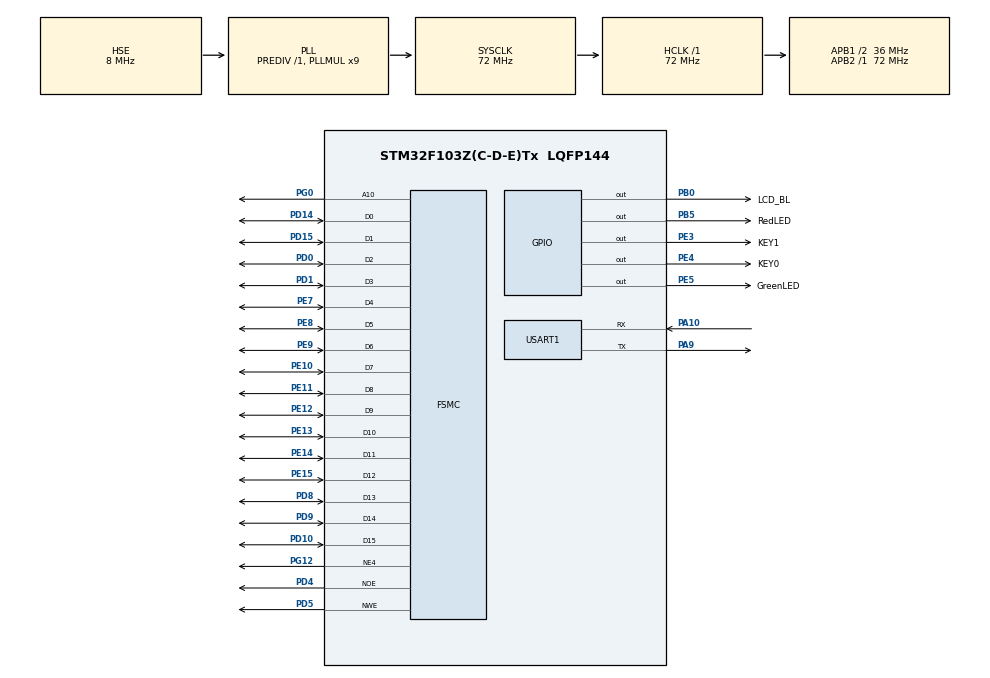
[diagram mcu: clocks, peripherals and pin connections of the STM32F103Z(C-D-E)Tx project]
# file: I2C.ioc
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FSMC.AddressSetupTime4=2
FSMC.BusTurnAroundDuration4=0
FSMC.DataSetupTime4=16
FSMC.ExtendedAddressSetupTime4=4
FSMC.ExtendedBusTurnAroundDuration4=0
FSMC.ExtendedDataSetupTime4=9
FSMC.ExtendedMode4=FSMC_EXTENDED_MODE_ENABLE
Mcu.Family=STM32F1
Mcu.Name=STM32F103Z(C-D-E)Tx
Mcu.Package=LQFP144
NVIC.PriorityGroup=NVIC_PRIORITYGROUP_4
OSC_IN.Mode=HSE-External-Oscillator
OSC_IN.Signal=RCC_OSC_IN
OSC_OUT.Mode=HSE-External-Oscillator
OSC_OUT.Signal=RCC_OSC_OUT
PA10.Mode=Asynchronous
PA10.Signal=USART1_RX
PA13.Mode=Serial_Wire
PA13.Signal=SYS_JTMS-SWDIO
PA14.Mode=Serial_Wire
PA14.Signal=SYS_JTCK-SWCLK
PA9.Mode=Asynchronous
PA9.Signal=USART1_TX
PB0.GPIO_Label=LCD_BL
PB0.GPIO_PuPd=GPIO_PULLDOWN
PB0.Signal=GPIO_Output
PB5.GPIO_Label=RedLED
PB5.PinState=GPIO_PIN_SET
PB5.Signal=GPIO_Output
PD0.Signal=FSMC_D2_DA2
PD1.Signal=FSMC_D3_DA3
PD10.Signal=FSMC_D15_DA15
PD14.Signal=FSMC_D0_DA0
PD15.Signal=FSMC_D1_DA1
PD4.Signal=FSMC_NOE
PD5.Signal=FSMC_NWE
PD8.Signal=FSMC_D13_DA13
PD9.Signal=FSMC_D14_DA14
PE10.Signal=FSMC_D7_DA7
PE11.Signal=FSMC_D8_DA8
PE12.Signal=FSMC_D9_DA9
PE13.Signal=FSMC_D10_DA10
PE14.Signal=FSMC_D11_DA11
PE15.Signal=FSMC_D12_DA12
PE3.GPIO_Label=KEY1
PE3.GPIO_PuPd=GPIO_PULLUP
PE3.PinState=GPIO_PIN_SET
PE3.Signal=GPIO_Output
PE4.GPIO_Label=KEY0
PE4.GPIO_PuPd=GPIO_PULLUP
PE4.PinState=GPIO_PIN_SET
PE4.Signal=GPIO_Output
PE5.GPIO_Label=GreenLED
PE5.PinState=GPIO_PIN_SET
PE5.Signal=GPIO_Output
PE7.Signal=FSMC_D4_DA4
PE8.Signal=FSMC_D5_DA5
PE9.Signal=FSMC_D6_DA6
PG0.Signal=FSMC_A10
PG12.Mode=NorPsramChipSelect4_4
PG12.Signal=FSMC_NE4
ProjectManager.HeapSize=0x200
ProjectManager.StackSize=0x400
ProjectManager.TargetToolchain=CMake
RCC.AHBFreq_Value=72000000
RCC.APB1CLKDivider=RCC_HCLK_DIV2
RCC.APB1Freq_Value=36000000
RCC.APB1TimFreq_Value=72000000
RCC.APB2Freq_Value=72000000
RCC.APB2TimFreq_Value=72000000
RCC.HCLKFreq_Value=72000000
RCC.PLLMUL=RCC_PLL_MUL9
RCC.PLLSourceVirtual=RCC_PLLSOURCE_HSE
RCC.SYSCLKFreq_VALUE=72000000
RCC.SYSCLKSource=RCC_SYSCLKSOURCE_PLLCLK
RCC.USBFreq_Value=72000000
SH.FSMC_A10.0=FSMC_A10,A10_4
SH.FSMC_D0_DA0.0=FSMC_D0,16b-d4
SH.FSMC_D10_DA10.0=FSMC_D10,16b-d4
SH.FSMC_D11_DA11.0=FSMC_D11,16b-d4
SH.FSMC_D12_DA12.0=FSMC_D12,16b-d4
SH.FSMC_D13_DA13.0=FSMC_D13,16b-d4
SH.FSMC_D14_DA14.0=FSMC_D14,16b-d4
SH.FSMC_D15_DA15.0=FSMC_D15,16b-d4
SH.FSMC_D1_DA1.0=FSMC_D1,16b-d4
SH.FSMC_D2_DA2.0=FSMC_D2,16b-d4
SH.FSMC_D3_DA3.0=FSMC_D3,16b-d4
SH.FSMC_D4_DA4.0=FSMC_D4,16b-d4
SH.FSMC_D5_DA5.0=FSMC_D5,16b-d4
SH.FSMC_D6_DA6.0=FSMC_D6,16b-d4
SH.FSMC_D7_DA7.0=FSMC_D7,16b-d4
SH.FSMC_D8_DA8.0=FSMC_D8,16b-d4
SH.FSMC_D9_DA9.0=FSMC_D9,16b-d4
SH.FSMC_NOE.0=FSMC_NOE,Lcd4
SH.FSMC_NWE.0=FSMC_NWE,Lcd4
USART1.VirtualMode=VM_ASYNC
board=custom

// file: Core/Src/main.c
/* USER CODE BEGIN Header */
/**
 ******************************************************************************
 * @file           : main.c
 * @brief          : Main program body
 ******************************************************************************
 * @attention
 *
 * Copyright (c) 2025 STMicroelectronics.
 * All rights reserved.
 *
 * This software is licensed under terms that can be found in the LICENSE file
 * in the root directory of this software component.
 * If no LICENSE file comes with this software, it is provided AS-IS.
 *
 ******************************************************************************
 */
/* USER CODE END Header */
#include "main.h"

#include "fsmc.h"
#include "gpio.h"
#include "stm32f1xx_hal.h"
#include "stm32f1xx_hal_gpio.h"
#include "usart.h"

/* USER CODE BEGIN Includes */
#include "AT24Cxx.h" /* 24CXX驱动头文件 */
#include "lcd.h" /* LCD驱动头文件 */

/* USER CODE END Includes */

/* USER CODE BEGIN PV */
/* 要写入到24c02的字符串数组 */
const uint8_t g_text_buf[] = {"STM32 IIC TEST"};
#define TEXT_SIZE sizeof(g_text_buf) /* TEXT字符串长度 */
/* USER CODE END PV */

void SystemClock_Config(void);

int main(void) {
    /* USER CODE BEGIN 1 */
    uint16_t i = 0;
    uint8_t datatemp[TEXT_SIZE];
    /* USER CODE END 1 */

    /* MCU Configuration--------------------------------------------------------*/

    /* Reset of all peripherals, Initializes the Flash interface and the Systick. */
    HAL_Init();

    /* Configure the system clock */
    SystemClock_Config();

    /* Initialize all configured peripherals */
    MX_GPIO_Init();
    MX_USART1_UART_Init();
    MX_FSMC_Init();
    /* USER CODE BEGIN 2 */
    lcd_init(); /* 初始化LCD */
    at24cxx_init(); /* 初始化24CXX */

    lcd_show_string(30, 50, 200, 16, 16, "STM32", RED);
    lcd_show_string(30, 70, 200, 16, 16, "IIC TEST", RED);
    lcd_show_string(30, 90, 200, 16, 16, "ATOM@ALIENTEK", RED);
    lcd_show_string(30, 110, 200, 16, 16, "KEY1:Write  KEY0:Read", RED); /* 显示提示信息 */
    while (at24cxx_check()) /* 检测不到24c02 */
    {
        lcd_show_string(30, 130, 200, 16, 16, "24C02 Check Failed!", RED);
        HAL_Delay(500);
        lcd_show_string(30, 130, 200, 16, 16, "Please Check!      ", RED);
        HAL_Delay(500);
        HAL_GPIO_TogglePin(RedLED_GPIO_Port, RedLED_Pin); /* 红灯闪烁 */
    }

    lcd_show_string(30, 130, 200, 16, 16, "24C02 Ready!", RED);
    /* USER CODE END 2 */

    /* Infinite loop */
    /* USER CODE BEGIN WHILE */
    while (1) {
        if (HAL_GPIO_ReadPin(KEY1_GPIO_Port, KEY1_Pin) == GPIO_PIN_RESET) /* KEY1按下,写入24C02 */
        {
            lcd_fill(0, 150, 239, 319, WHITE); /* 清除半屏 */
            lcd_show_string(30, 150, 200, 16, 16, "Start Write 24C02....", BLUE);
            at24cxx_write(0, (uint8_t*) g_text_buf, TEXT_SIZE);
            lcd_show_string(30, 150, 200, 16, 16, "24C02 Write Finished!", BLUE); /* 提示传送完成 */
        }

        if (HAL_GPIO_ReadPin(KEY0_GPIO_Port, KEY0_Pin) == GPIO_PIN_RESET) /* KEY0按下,读取字符串并显示 */
        {
            lcd_show_string(30, 150, 200, 16, 16, "Start Read 24C02.... ", BLUE);
            at24cxx_read(0, datatemp, TEXT_SIZE);
            lcd_show_string(30, 150, 200, 16, 16, "The Data Readed Is:  ", BLUE); /* 提示传送完成 */
            lcd_show_string(30, 170, 200, 16, 16, (char*) datatemp, BLUE); /* 显示读到的字符串 */
        }

        i++;

        if (i == 20) {
            HAL_GPIO_TogglePin(RedLED_GPIO_Port, RedLED_Pin); /* 红灯闪烁 */
            i = 0;
        }

        HAL_Delay(10);

        /* USER CODE END WHILE */

    }
}

void SystemClock_Config(void) {
    RCC_OscInitTypeDef RCC_OscInitStruct = {0};
    RCC_ClkInitTypeDef RCC_ClkInitStruct = {0};

    /** Initializes the RCC Oscillators according to the specified parameters
     * in the RCC_OscInitTypeDef structure.
     */
    RCC_OscInitStruct.OscillatorType = RCC_OSCILLATORTYPE_HSE;
    RCC_OscInitStruct.HSEState = RCC_HSE_ON;
    RCC_OscInitStruct.HSEPredivValue = RCC_HSE_PREDIV_DIV1;
    RCC_OscInitStruct.HSIState = RCC_HSI_ON;
    RCC_OscInitStruct.PLL.PLLState = RCC_PLL_ON;
    RCC_OscInitStruct.PLL.PLLSource = RCC_PLLSOURCE_HSE;
    RCC_OscInitStruct.PLL.PLLMUL = RCC_PLL_MUL9;
    if (HAL_RCC_OscConfig(&RCC_OscInitStruct) != HAL_OK) {
        Error_Handler();
    }

    /** Initializes the CPU, AHB and APB buses clocks
     */
    RCC_ClkInitStruct.ClockType = RCC_CLOCKTYPE_HCLK | RCC_CLOCKTYPE_SYSCLK | RCC_CLOCKTYPE_PCLK1 | RCC_CLOCKTYPE_PCLK2;
    RCC_ClkInitStruct.SYSCLKSource = RCC_SYSCLKSOURCE_PLLCLK;
    RCC_ClkInitStruct.AHBCLKDivider = RCC_SYSCLK_DIV1;
    RCC_ClkInitStruct.APB1CLKDivider = RCC_HCLK_DIV2;
    RCC_ClkInitStruct.APB2CLKDivider = RCC_HCLK_DIV1;

    if (HAL_RCC_ClockConfig(&RCC_ClkInitStruct, FLASH_LATENCY_2) != HAL_OK) {
        Error_Handler();
    }
}

void Error_Handler(void) {
    __disable_irq();
    while (1) {}
}
